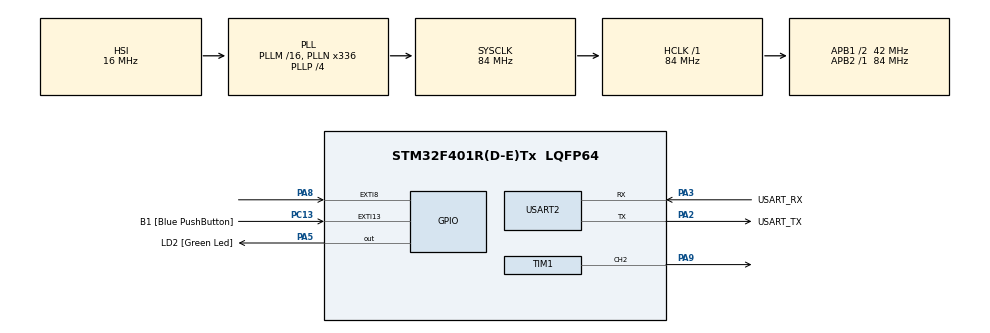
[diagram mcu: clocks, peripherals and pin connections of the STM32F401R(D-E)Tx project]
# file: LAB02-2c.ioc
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Mcu.Family=STM32F4
Mcu.Name=STM32F401R(D-E)Tx
Mcu.Package=LQFP64
NVIC.EXTI9_5_IRQn=true\:0\:0\:false\:false\:true\:true\:true\:true
NVIC.PriorityGroup=NVIC_PRIORITYGROUP_4
PA13.GPIO_Label=TMS
PA13.Mode=Trace_Asynchronous_SW
PA13.Signal=SYS_JTMS-SWDIO
PA14.GPIO_Label=TCK
PA14.Mode=Trace_Asynchronous_SW
PA14.Signal=SYS_JTCK-SWCLK
PA2.GPIO_Label=USART_TX
PA2.GPIO_Mode=GPIO_MODE_AF_PP
PA2.GPIO_PuPd=GPIO_NOPULL
PA2.GPIO_Speed=GPIO_SPEED_FREQ_LOW
PA2.Mode=Asynchronous
PA2.Signal=USART2_TX
PA3.GPIO_Label=USART_RX
PA3.GPIO_Mode=GPIO_MODE_AF_PP
PA3.GPIO_PuPd=GPIO_NOPULL
PA3.GPIO_Speed=GPIO_SPEED_FREQ_LOW
PA3.Mode=Asynchronous
PA3.Signal=USART2_RX
PA5.GPIO_Label=LD2 [Green Led]
PA5.GPIO_Mode=GPIO_MODE_OUTPUT_PP
PA5.GPIO_PuPd=GPIO_NOPULL
PA5.GPIO_Speed=GPIO_SPEED_FREQ_LOW
PA5.Signal=GPIO_Output
PA8.GPIO_PuPd=GPIO_PULLDOWN
PA8.Signal=GPXTI8
PA9.Signal=S_TIM1_CH2
PB3.GPIO_Label=SWO
PB3.Mode=Trace_Asynchronous_SW
PB3.Signal=SYS_JTDO-SWO
PC13-ANTI_TAMP.GPIO_Label=B1 [Blue PushButton]
PC13-ANTI_TAMP.GPIO_ModeDefaultEXTI=GPIO_MODE_IT_FALLING
PC13-ANTI_TAMP.GPIO_PuPd=GPIO_NOPULL
PC13-ANTI_TAMP.Signal=GPXTI13
PC14-OSC32_IN.Mode=LSE-External-Oscillator
PC14-OSC32_IN.Signal=RCC_OSC32_IN
PC15-OSC32_OUT.Mode=LSE-External-Oscillator
PC15-OSC32_OUT.Signal=RCC_OSC32_OUT
PH0\ -\ OSC_IN.Mode=HSE-External-Clock-Source
PH0\ -\ OSC_IN.Signal=RCC_OSC_IN
PH1\ -\ OSC_OUT.Mode=HSE-External-Clock-Source
PH1\ -\ OSC_OUT.Signal=RCC_OSC_OUT
ProjectManager.HeapSize=0x200
ProjectManager.StackSize=0x400
ProjectManager.TargetToolchain=STM32CubeIDE
RCC.48MHZClocksFreq_Value=48000000
RCC.AHBFreq_Value=84000000
RCC.APB1CLKDivider=RCC_HCLK_DIV2
RCC.APB1Freq_Value=42000000
RCC.APB1TimFreq_Value=84000000
RCC.APB2Freq_Value=84000000
RCC.APB2TimFreq_Value=84000000
RCC.CortexFreq_Value=84000000
RCC.HCLKFreq_Value=84000000
RCC.HSE_VALUE=8000000
RCC.HSI_VALUE=16000000
RCC.PLLN=336
RCC.PLLP=RCC_PLLP_DIV4
RCC.PLLQ=7
RCC.SYSCLKFreq_VALUE=84000000
RCC.SYSCLKSource=RCC_SYSCLKSOURCE_PLLCLK
RCC.VCOOutputFreq_Value=336000000
SH.S_TIM1_CH2.0=TIM1_CH2,PWM Generation2 CH2
TIM1.Channel-PWM\ Generation2\ CH2=TIM_CHANNEL_2
TIM1.Period=0
TIM1.Prescaler=99
USART2.VirtualMode=VM_ASYNC
board=NUCLEO-F401RE

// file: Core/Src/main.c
/* USER CODE BEGIN Header */
/**
  ******************************************************************************
  * @file           : main.c
  * @brief          : Main program body
  ******************************************************************************
  * @attention
  *
  * Copyright (c) 2026 STMicroelectronics.
  * All rights reserved.
  *
  * This software is licensed under terms that can be found in the LICENSE file
  * in the root directory of this software component.
  * If no LICENSE file comes with this software, it is provided AS-IS.
  *
  ******************************************************************************
  */
/* USER CODE END Header */
#include "main.h"

/* USER CODE BEGIN PTD */

typedef struct {
  uint16_t frequency; // Note frequency in Hz
  uint16_t duration;  // Note duration in milliseconds
} Note;

/* USER CODE END PTD */

TIM_HandleTypeDef htim1;

UART_HandleTypeDef huart2;

/* USER CODE BEGIN PV */

Note londonBridge[] = {
  // "Lon - don bridge is"
  {392, 600}, // G4 (Dotted Quarter)
  {440, 200}, // A4 (Eighth)
  {392, 400}, // G4 (Quarter)
  {349, 400}, // F4 (Quarter)

  // "fal - ling down"
  {330, 400}, // E4 (Quarter)
  {349, 400}, // F4 (Quarter)
  {392, 800}, // G4 (Half)

  // "fal - ling down"
  {294, 400}, // D4 (Quarter)
  {330, 400}, // E4 (Quarter)
  {349, 800}, // F4 (Half)

  // "fal - ling down"
  {330, 400}, // E4 (Quarter)
  {349, 400}, // F4 (Quarter)
  {392, 800}, // G4 (Half)

  // "Lon - don bridge is"
  {392, 600}, // G4 (Dotted Quarter)
  {440, 200}, // A4 (Eighth)
  {392, 400}, // G4 (Quarter)
  {349, 400}, // F4 (Quarter)

  // "fal - ling down"
  {330, 400}, // E4 (Quarter)
  {349, 400}, // F4 (Quarter)
  {392, 800}, // G4 (Half)

  // "my fair"
  {294, 800}, // D4 (Half)
  {392, 800}, // G4 (Half)

  // "la - dy"
  {330, 400},  // E4 (Quarter)
  {262, 1200}, // C4 (Dotted Half)
};

// Calculate how many notes are in the array
int songLength = sizeof(londonBridge) / sizeof(londonBridge[0]);

volatile uint8_t playSongFlag = 0;

/* USER CODE END PV */

void SystemClock_Config(void);
static void MX_GPIO_Init(void);
static void MX_USART2_UART_Init(void);
static void MX_TIM1_Init(void);

/* USER CODE BEGIN 0 */

void playNote(uint16_t freq) {
  if (freq == 0) {

    // Mute the volume by setting Pulse (Duty Cycle) to 0
    __HAL_TIM_SET_COMPARE(&htim1, TIM_CHANNEL_2, 0);

  } else {

	// Calculate Period (ARR) based on the 840000 Hz timer frequency
	uint32_t arr = (840000 / freq) - 1;

	// Calculate Pulse (CCRx) for exactly 50% duty cycle
	uint32_t pulse = (arr + 1) / 2 - 1;

	// Write values to the timer registers dynamically
	__HAL_TIM_SET_AUTORELOAD(&htim1, arr);
	__HAL_TIM_SET_COMPARE(&htim1, TIM_CHANNEL_2, pulse);
  }
}

/* USER CODE END 0 */

int main(void)
{

  /* MCU Configuration--------------------------------------------------------*/

  /* Reset of all peripherals, Initializes the Flash interface and the Systick. */
  HAL_Init();

  /* Configure the system clock */
  SystemClock_Config();

  /* Initialize all configured peripherals */
  MX_GPIO_Init();
  MX_USART2_UART_Init();
  MX_TIM1_Init();

  /* Infinite loop */
  /* USER CODE BEGIN WHILE */
  while (1)
  {
	  // Check if the microphone triggered the interrupt flag
	  if (playSongFlag == 1) {

	    // Start the timer
	    HAL_TIM_PWM_Start(&htim1, TIM_CHANNEL_2);

	    // Step through the array to play the song
	    for(int i = 0; i < songLength; i++) {

		    playNote(londonBridge[i].frequency);
		    HAL_Delay(londonBridge[i].duration);

	    }

	    // Stop the timer when the song is done
	    HAL_TIM_PWM_Stop(&htim1, TIM_CHANNEL_2);

	    // Reset the flag so it waits for the next loud noise
	    playSongFlag = 0;
	  }

    /* USER CODE END WHILE */

  }
}

void SystemClock_Config(void)
{
  RCC_OscInitTypeDef RCC_OscInitStruct = {0};
  RCC_ClkInitTypeDef RCC_ClkInitStruct = {0};

  /** Configure the main internal regulator output voltage
  */
  __HAL_RCC_PWR_CLK_ENABLE();
  __HAL_PWR_VOLTAGESCALING_CONFIG(PWR_REGULATOR_VOLTAGE_SCALE2);

  /** Initializes the RCC Oscillators according to the specified parameters
  * in the RCC_OscInitTypeDef structure.
  */
  RCC_OscInitStruct.OscillatorType = RCC_OSCILLATORTYPE_HSI;
  RCC_OscInitStruct.HSIState = RCC_HSI_ON;
  RCC_OscInitStruct.HSICalibrationValue = RCC_HSICALIBRATION_DEFAULT;
  RCC_OscInitStruct.PLL.PLLState = RCC_PLL_ON;
  RCC_OscInitStruct.PLL.PLLSource = RCC_PLLSOURCE_HSI;
  RCC_OscInitStruct.PLL.PLLM = 16;
  RCC_OscInitStruct.PLL.PLLN = 336;
  RCC_OscInitStruct.PLL.PLLP = RCC_PLLP_DIV4;
  RCC_OscInitStruct.PLL.PLLQ = 7;
  if (HAL_RCC_OscConfig(&RCC_OscInitStruct) != HAL_OK)
  {
    Error_Handler();
  }

  /** Initializes the CPU, AHB and APB buses clocks
  */
  RCC_ClkInitStruct.ClockType = RCC_CLOCKTYPE_HCLK|RCC_CLOCKTYPE_SYSCLK
                              |RCC_CLOCKTYPE_PCLK1|RCC_CLOCKTYPE_PCLK2;
  RCC_ClkInitStruct.SYSCLKSource = RCC_SYSCLKSOURCE_PLLCLK;
  RCC_ClkInitStruct.AHBCLKDivider = RCC_SYSCLK_DIV1;
  RCC_ClkInitStruct.APB1CLKDivider = RCC_HCLK_DIV2;
  RCC_ClkInitStruct.APB2CLKDivider = RCC_HCLK_DIV1;

  if (HAL_RCC_ClockConfig(&RCC_ClkInitStruct, FLASH_LATENCY_2) != HAL_OK)
  {
    Error_Handler();
  }
}

static void MX_TIM1_Init(void)
{

  TIM_MasterConfigTypeDef sMasterConfig = {0};
  TIM_OC_InitTypeDef sConfigOC = {0};
  TIM_BreakDeadTimeConfigTypeDef sBreakDeadTimeConfig = {0};

  htim1.Instance = TIM1;
  htim1.Init.Prescaler = 99;
  htim1.Init.CounterMode = TIM_COUNTERMODE_UP;
  htim1.Init.Period = 0;
  htim1.Init.ClockDivision = TIM_CLOCKDIVISION_DIV1;
  htim1.Init.RepetitionCounter = 0;
  htim1.Init.AutoReloadPreload = TIM_AUTORELOAD_PRELOAD_DISABLE;
  if (HAL_TIM_PWM_Init(&htim1) != HAL_OK)
  {
    Error_Handler();
  }
  sMasterConfig.MasterOutputTrigger = TIM_TRGO_RESET;
  sMasterConfig.MasterSlaveMode = TIM_MASTERSLAVEMODE_DISABLE;
  if (HAL_TIMEx_MasterConfigSynchronization(&htim1, &sMasterConfig) != HAL_OK)
  {
    Error_Handler();
  }
  sConfigOC.OCMode = TIM_OCMODE_PWM1;
  sConfigOC.Pulse = 0;
  sConfigOC.OCPolarity = TIM_OCPOLARITY_HIGH;
  sConfigOC.OCNPolarity = TIM_OCNPOLARITY_HIGH;
  sConfigOC.OCFastMode = TIM_OCFAST_DISABLE;
  sConfigOC.OCIdleState = TIM_OCIDLESTATE_RESET;
  sConfigOC.OCNIdleState = TIM_OCNIDLESTATE_RESET;
  if (HAL_TIM_PWM_ConfigChannel(&htim1, &sConfigOC, TIM_CHANNEL_2) != HAL_OK)
  {
    Error_Handler();
  }
  sBreakDeadTimeConfig.OffStateRunMode = TIM_OSSR_DISABLE;
  sBreakDeadTimeConfig.OffStateIDLEMode = TIM_OSSI_DISABLE;
  sBreakDeadTimeConfig.LockLevel = TIM_LOCKLEVEL_OFF;
  sBreakDeadTimeConfig.DeadTime = 0;
  sBreakDeadTimeConfig.BreakState = TIM_BREAK_DISABLE;
  sBreakDeadTimeConfig.BreakPolarity = TIM_BREAKPOLARITY_HIGH;
  sBreakDeadTimeConfig.AutomaticOutput = TIM_AUTOMATICOUTPUT_DISABLE;
  if (HAL_TIMEx_ConfigBreakDeadTime(&htim1, &sBreakDeadTimeConfig) != HAL_OK)
  {
    Error_Handler();
  }
  HAL_TIM_MspPostInit(&htim1);

}

static void MX_USART2_UART_Init(void)
{

  huart2.Instance = USART2;
  huart2.Init.BaudRate = 115200;
  huart2.Init.WordLength = UART_WORDLENGTH_8B;
  huart2.Init.StopBits = UART_STOPBITS_1;
  huart2.Init.Parity = UART_PARITY_NONE;
  huart2.Init.Mode = UART_MODE_TX_RX;
  huart2.Init.HwFlowCtl = UART_HWCONTROL_NONE;
  huart2.Init.OverSampling = UART_OVERSAMPLING_16;
  if (HAL_UART_Init(&huart2) != HAL_OK)
  {
    Error_Handler();
  }

}

static void MX_GPIO_Init(void)
{
  GPIO_InitTypeDef GPIO_InitStruct = {0};

  /* GPIO Ports Clock Enable */
  __HAL_RCC_GPIOC_CLK_ENABLE();
  __HAL_RCC_GPIOH_CLK_ENABLE();
  __HAL_RCC_GPIOA_CLK_ENABLE();
  __HAL_RCC_GPIOB_CLK_ENABLE();

  /*Configure GPIO pin Output Level */
  HAL_GPIO_WritePin(LD2_GPIO_Port, LD2_Pin, GPIO_PIN_RESET);

  /*Configure GPIO pin : B1_Pin */
  GPIO_InitStruct.Pin = B1_Pin;
  GPIO_InitStruct.Mode = GPIO_MODE_IT_FALLING;
  GPIO_InitStruct.Pull = GPIO_NOPULL;
  HAL_GPIO_Init(B1_GPIO_Port, &GPIO_InitStruct);

  /*Configure GPIO pin : LD2_Pin */
  GPIO_InitStruct.Pin = LD2_Pin;
  GPIO_InitStruct.Mode = GPIO_MODE_OUTPUT_PP;
  GPIO_InitStruct.Pull = GPIO_NOPULL;
  GPIO_InitStruct.Speed = GPIO_SPEED_FREQ_LOW;
  HAL_GPIO_Init(LD2_GPIO_Port, &GPIO_InitStruct);

  /*Configure GPIO pin : PA8 */
  GPIO_InitStruct.Pin = GPIO_PIN_8;
  GPIO_InitStruct.Mode = GPIO_MODE_IT_RISING;
  GPIO_InitStruct.Pull = GPIO_PULLDOWN;
  HAL_GPIO_Init(GPIOA, &GPIO_InitStruct);

  /* EXTI interrupt init*/
  HAL_NVIC_SetPriority(EXTI9_5_IRQn, 0, 0);
  HAL_NVIC_EnableIRQ(EXTI9_5_IRQn);

}

/* USER CODE BEGIN 4 */

// This function is automatically called when an External Interrupt (EXTI) triggers
void HAL_GPIO_EXTI_Callback(uint16_t GPIO_Pin)
{
    // Check if the interrupt came from the microphone pin (PA8)
    if(GPIO_Pin == GPIO_PIN_8) {

        // Only set the flag if the song isn't already playing
        // This prevents the song from glitching if it hears its own noise.
        if (playSongFlag == 0) {
            playSongFlag = 1;
        }
    }
}

/* USER CODE END 4 */

void Error_Handler(void)
{
  __disable_irq();
  while (1)
  {
  }
}
